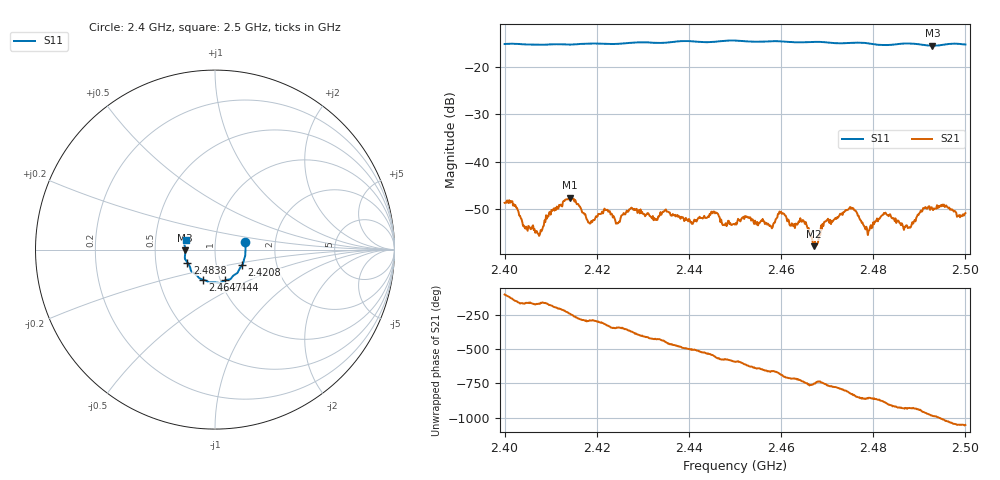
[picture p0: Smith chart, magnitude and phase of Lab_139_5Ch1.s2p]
# Hz S RI R 50
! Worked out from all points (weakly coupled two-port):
!   601 points, 2.4 GHz to 2.5 GHz, reference 50 ohm
!   highest |S21| = -47.60 dB at 2.4142 GHz (marker M1); lowest = -57.8 dB at 2.4672 GHz (marker M2)
!   lowest |S11| = -15.6 dB at 2.4928 GHz (marker M3), VSWR 1.40, Z = 35.8 - j0.337 ohm
!   |S11| at or under -10 dB: start of sweep to end of sweep
!   S12 and S22 are empty: the file has one direction only
!   S11 on the Smith chart (normalised r, x): 2.4 GHz: 1.40, +0.12; 2.4208 GHz: 1.33, -0.24; 2.444 GHz: 1.06, -0.37; 2.4647 GHz: 0.83, -0.29; 2.4838 GHz: 0.73, -0.11; 2.5 GHz: 0.72, +0.08
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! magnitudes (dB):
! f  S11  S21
! 2.4 GHz  -15.3  -48.7
! 2.4072 GHz  -15.4  -55.1
! 2.4142 GHz  -15.4  -47.6
! 2.4167 GHz  -15.2  -50.1
! 2.4185 GHz  -15.2  -53.0
! 2.4208 GHz  -15.2  -51.0
! 2.4333 GHz  -15.0  -51.6
! 2.444 GHz  -14.9  -51.7
! 2.45 GHz  -14.5  -53.3
! 2.4578 GHz  -14.7  -53.6
! 2.46 GHz  -14.7  -50.6
! 2.4647 GHz  -14.9  -52.3
! 2.4667 GHz  -14.8  -55.9
! 2.4672 GHz  -14.8  -57.8
! 2.4698 GHz  -14.9  -52.4
! 2.4745 GHz  -15.0  -50.2
! 2.4787 GHz  -15.1  -54.2
! 2.4833 GHz  -15.5  -51.5
! 2.4838 GHz  -15.4  -51.5
! 2.4878 GHz  -15.1  -53.8
! 2.4928 GHz  -15.6  -50.0
! 2.5 GHz  -15.4  -50.8
